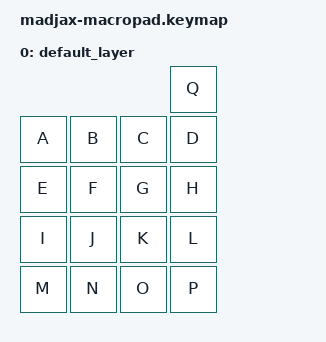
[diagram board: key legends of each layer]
#include <behaviors.dtsi>
#include <dt-bindings/zmk/keys.h>

/ {
    keymap {
        compatible = "zmk,keymap";

        default_layer { // Layer 0
            bindings = <
                                           &kp Q
                &kp A    &kp B    &kp C    &kp D
                &kp E    &kp F    &kp G    &kp H
                &kp I    &kp J    &kp K    &kp L
                &kp M    &kp N    &kp O    &kp P
            >;
        };
    };
 };

/ {
    behaviors {
        rot_kp: encoder {
            compatible = "zmk,behavior-sensor-rotate-var";
            #sensor-binding-cells = <2>;
            bindings = <&kp>, <&kp>;
        };
    };

    keymap {
        compatible = "zmk,keymap";
        base {
            sensor-bindings = <&rot_kp PG_UP PG_DN>;
        }
    }
};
